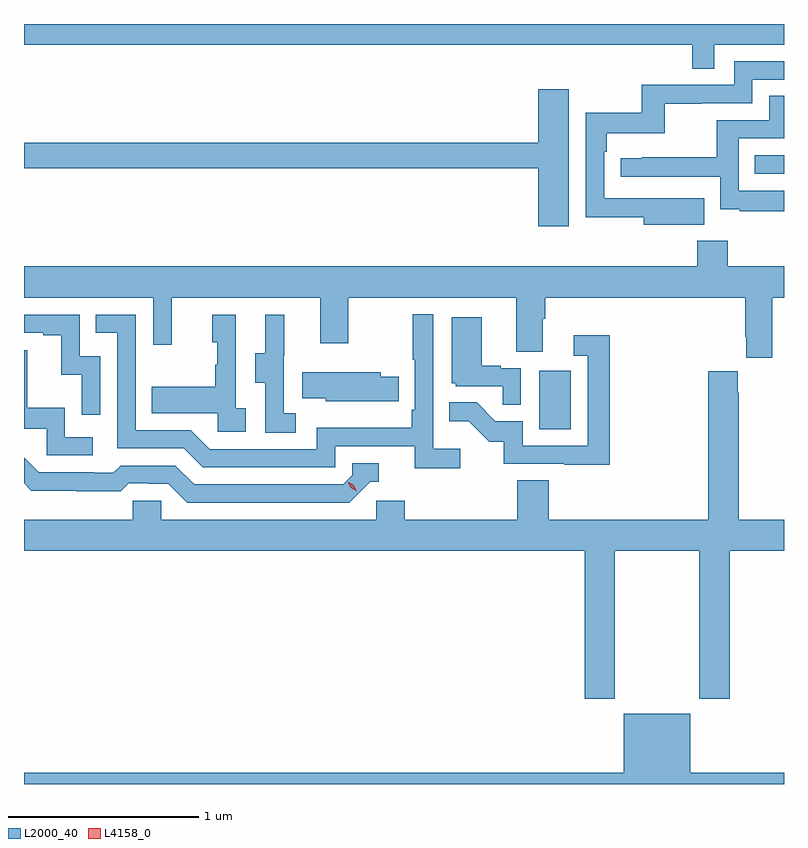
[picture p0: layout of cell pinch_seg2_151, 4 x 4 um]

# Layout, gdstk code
import gdstk
lib = gdstk.Library(unit=1e-6, precision=1e-09)
def R(c, l, rs):  # rectangles x0, y0, x1, y1
    for r in rs: c.add(gdstk.rectangle(r[:2], r[2:], *l))
def P(c, l, *ps):  # polygons
    for p in ps: c.add(gdstk.Polygon(p, *l))
L2000_40 = (2000, 40)
L4158_0 = (4158, 0)

pinch_seg2_151 = lib.new_cell('pinch_seg2_151')
R(pinch_seg2_151, L2000_40, [(1117.964,634.956,1118.128,635.263), (1119.097,636.3,1119.251,636.396)])
P(pinch_seg2_151, L2000_40, [(1118.883,636.98),(1119.251,636.98),(1119.251,637.088),(1115.251,637.088),(1115.251,636.98),(1118.767,636.98),(1118.767,636.853),(1118.883,636.853)],
  [(1118.831,636.172),(1118.617,636.172),(1118.617,636.171),(1118.304,636.171),(1118.304,636.416),(1118.318,636.416),(1118.318,636.512),(1118.623,636.512),(1118.623,636.667),(1118.819,636.667),(1118.819,636.672),(1119.084,636.672),(1119.084,636.795),(1119.251,636.795),(1119.251,636.891),(1118.988,636.891),(1118.988,636.768),(1118.502,636.768),(1118.502,636.622),(1118.208,636.622),(1118.208,636.07),(1118.513,636.07),(1118.513,636.032),(1118.831,636.032)],
  [(1118.119,636.745),(1117.958,636.745),(1117.958,636.464),(1115.251,636.464),(1115.251,636.328),(1117.958,636.328),(1117.958,636.024),(1118.119,636.024)],
  [(1119.251,636.21),(1119.012,636.21),(1119.012,636.486),(1119.251,636.486),(1119.251,636.71),(1119.173,636.71),(1119.173,636.582),(1118.896,636.582),(1118.896,636.386),(1118.503,636.386),(1118.503,636.381),(1118.391,636.381),(1118.391,636.285),(1118.916,636.285),(1118.916,636.113),(1119.019,636.113),(1119.019,636.102),(1119.251,636.102)],
  [(1119.19,635.648),(1119.251,635.648),(1119.251,635.812),(1118.955,635.812),(1118.955,635.947),(1118.795,635.947),(1118.795,635.812),(1115.251,635.812),(1115.251,635.648),(1115.931,635.648),(1115.931,635.4),(1116.029,635.4),(1116.029,635.648),(1116.809,635.648),(1116.809,635.409),(1116.957,635.409),(1116.957,635.648),(1117.841,635.648),(1117.841,635.362),(1117.981,635.362),(1117.981,635.536),(1117.994,635.536),(1117.994,635.648),(1119.047,635.648),(1119.047,635.443),(1119.053,635.443),(1119.053,635.331),(1119.19,635.331)],
  [(1117.546,634.852),(1117.404,634.852),(1117.404,635.56),(1117.296,635.56),(1117.296,635.32),(1117.308,635.32),(1117.308,635.059),(1117.291,635.059),(1117.291,634.963),(1116.792,634.963),(1116.792,634.851),(1116.228,634.851),(1116.129,634.95),(1115.838,634.95),(1115.838,635.559),(1115.629,635.559),(1115.629,635.463),(1115.742,635.463),(1115.742,634.854),(1116.092,634.854),(1116.191,634.755),(1116.888,634.755),(1116.888,634.866),(1117.307,634.866),(1117.307,634.75),(1117.546,634.75)],
  [(1115.652,635.34),(1115.544,635.34),(1115.544,635.559),(1115.251,635.559),(1115.251,635.463),(1115.351,635.463),(1115.351,635.451),(1115.447,635.451),(1115.447,635.243),(1115.556,635.243),(1115.556,635.031),(1115.652,635.031)],
  [(1116.418,635.066),(1116.366,635.066),(1116.366,635.557),(1116.242,635.557),(1116.242,635.412),(1116.268,635.412),(1116.268,635.294),(1116.258,635.294),(1116.258,635.179),(1115.923,635.179),(1115.923,635.039),(1116.27,635.039),(1116.27,634.941),(1116.418,634.941)],
  [(1116.682,635.039),(1116.618,635.039),(1116.618,635.343),(1116.62,635.343),(1116.62,635.557),(1116.521,635.557),(1116.521,635.355),(1116.467,635.355),(1116.467,635.2),(1116.522,635.2),(1116.522,634.936),(1116.682,634.936)],
  [(1117.866,635.277),(1117.76,635.277),(1117.76,635.29),(1117.66,635.29),(1117.66,635.545),(1117.502,635.545),(1117.502,635.196),(1117.524,635.196),(1117.524,635.181),(1117.771,635.181),(1117.771,635.083),(1117.866,635.083)],
  [(1118.333,635.449),(1118.145,635.449),(1118.145,635.343),(1118.217,635.343),(1118.217,634.869),(1117.875,634.869),(1117.875,634.998),(1117.731,634.998),(1117.633,635.096),(1117.489,635.096),(1117.489,634.997),(1117.593,634.997),(1117.7,634.89),(1117.777,634.89),(1117.777,634.773),(1118.095,634.773),(1118.095,634.768),(1118.333,634.768)],
  [(1115.614,634.914),(1115.466,634.914),(1115.466,635.068),(1115.267,635.068),(1115.267,635.371),(1115.251,635.371),(1115.251,634.959),(1115.37,634.959),(1115.37,634.818),(1115.614,634.818)],
  [(1118.361,634.316),(1118.806,634.316),(1118.806,633.537),(1118.966,633.537),(1118.966,634.316),(1119.251,634.316),(1119.251,634.48),(1119.012,634.48),(1119.012,635.147),(1119.007,635.147),(1119.007,635.26),(1118.852,635.26),(1118.852,634.48),(1118.012,634.48),(1118.012,634.688),(1117.847,634.688),(1117.847,634.48),(1117.256,634.48),(1117.256,634.578),(1117.104,634.578),(1117.104,634.48),(1115.973,634.48),(1115.973,634.578),(1115.823,634.578),(1115.823,634.48),(1115.251,634.48),(1115.251,634.316),(1118.201,634.316),(1118.201,633.537),(1118.361,633.537)],
  [(1117.112,635.103),(1117.223,635.103),(1117.223,635.232),(1117.129,635.232),(1117.129,635.254),(1116.715,635.254),(1116.715,635.117),(1116.84,635.117),(1116.84,635.102),(1117.112,635.102)],
  [(1117.074,634.68),(1117.117,634.68),(1117.117,634.776),(1116.978,634.776),(1116.978,634.713),(1116.93,634.665),(1116.147,634.665),(1116.048,634.764),(1115.759,634.764),(1115.72,634.725),(1115.621,634.725),(1115.621,634.728),(1115.328,634.728),(1115.251,634.805),(1115.251,634.67),(1115.29,634.631),(1115.526,634.631),(1115.526,634.629),(1115.759,634.629),(1115.801,634.671),(1115.904,634.671),(1115.904,634.668),(1116.011,634.668),(1116.11,634.569),(1116.963,634.569)],
  [(1119.251,633.148),(1118.758,633.148),(1118.758,633.457),(1118.408,633.457),(1118.408,633.148),(1115.251,633.148),(1115.251,633.088),(1119.251,633.088)])
P(pinch_seg2_151, L4158_0, [(1117.002,634.628),(1116.971,634.647),(1116.955,634.679),(1116.955,634.68),(1116.955,634.68),(1116.986,634.661),(1117.002,634.628),(1117.002,634.628)])

lib.write_gds('pinch_seg2_151.gds')
